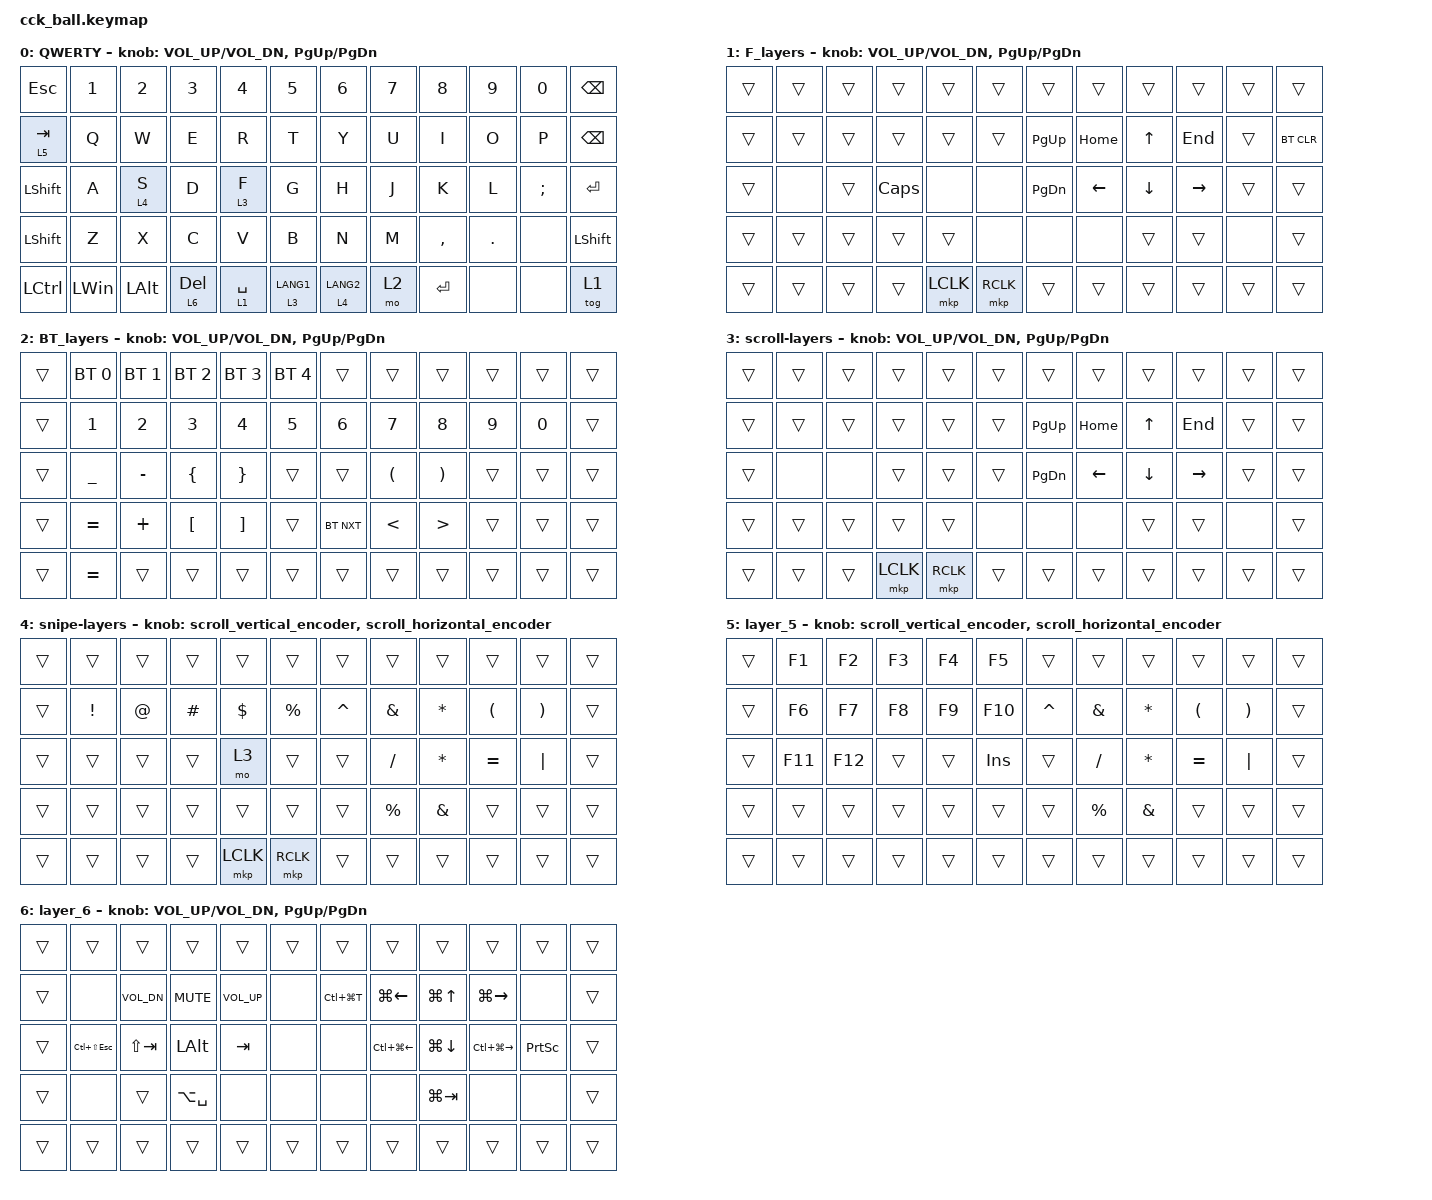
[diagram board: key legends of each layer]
/*
 * Copyright (c) 2024 The ZMK Contributors
 *
 * SPDX-License-Identifier: MIT
 */

// ---------------------------------------------------------
// 感度とスクロール量の基本設定
// ---------------------------------------------------------
#define ZMK_POINTING_DEFAULT_MOVE_VAL 100
#define ZMK_POINTING_DEFAULT_SCRL_VAL 6

#include <behaviors.dtsi>
#include <dt-bindings/zmk/keys.h>
#include <dt-bindings/zmk/bt.h>
#include <dt-bindings/zmk/pointing.h>
#include <dt-bindings/zmk/outputs.h>
#include <input/processors.dtsi> 
#include <zephyr/dt-bindings/input/input-event-codes.h>

// ---------------------------------------------------------
// 入力プロセッサ設定 (リスナー)
// ---------------------------------------------------------

/ {
  zip_xy_swap: zip_xy_swap {
      compatible = "zmk,input-processor-code-mapper";
      #input-processor-cells = <0>;
      type = <INPUT_EV_REL>;
      /* INPUT_REL_X を INPUT_REL_Y に、Y を X に変換する */
      map = <INPUT_REL_X INPUT_REL_Y>, <INPUT_REL_Y INPUT_REL_X>;
  };

zip_y_inverter: zip_y_inverter {
      compatible = "zmk,input-processor-scaler";
      #input-processor-cells = <2>; /* 引数を2つ(倍率, 分母)とる設定 */
      type = <INPUT_EV_REL>;
      codes = <INPUT_REL_Y>; /* Y軸のみに作用させる */
  };
};

// 1. 通常のマウス移動 (v0.3対応: 標準リスナーに戻す)
&mmv_input_listener {
    compatible = "zmk,input-listener";
    device = <&trackball>;
    input-processors = <&zip_xy_swap>, <&zip_y_inverter (-1) 1>, <&zip_xy_scaler 2 1>, <&zip_temp_layer 1 200>;
};

// 2. 通常のスクロール (既存設定)
&msc_input_listener {
    input-processors = <&zip_xy_swap>, <&zip_y_inverter (-1) 1>,<&zip_scroll_scaler 2 1>;
};

/ {
    // -----------------------------------------------------
    // 追加リスナー設定
    // -----------------------------------------------------

    // 3. レイヤー3スクロールはドライバ機能(overlayのscroll-layers)を使用するため
    // ここでのリスナー定義は不要です。

    // 4. トラックボール作動時にレイヤー1にする (Auto Mouse)
    automouse_listener {
        compatible = "zmk,input-behavior-listener";
        device = <&trackball>;
        layers = <0 2 4 5 6>; 
        evt-type = <INPUT_EV_REL>;
        x-input-code = <INPUT_REL_X>;
        y-input-code = <INPUT_REL_Y>;
        bindings = <&mo 1>;
        time-to-live-ms = <100>; // 0.1s delay
    };


};

// ---------------------------------------------------------
// マウス動作の挙動詳細設定
// ---------------------------------------------------------
&msc {
    acceleration-exponent = <0>;
    time-to-max-speed-ms = <300>;
    delay-ms = <0>;
};

&mmv {
    time-to-max-speed-ms = <500>;
    acceleration-exponent = <1>;
    trigger-period-ms = <16>;
};

&soft_off { hold-time-ms = <2000>; };

/ {
    // -----------------------------------------------------
    // カスタム挙動 (エンコーダー等)
    // -----------------------------------------------------
    scroll_vertical_encoder: scroll_vertical_encoder {
        compatible = "zmk,behavior-sensor-rotate";
        #sensor-binding-cells = <0>;
        bindings = <&msc SCRL_DOWN>, <&msc SCRL_UP>;
        tap-ms = <100>;
    };

    scroll_horizontal_encoder: scroll_horizontal_encoder {
        compatible = "zmk,behavior-sensor-rotate";
        #sensor-binding-cells = <0>;
        bindings = <&msc SCRL_LEFT>, <&msc SCRL_RIGHT>;
        tap-ms = <100>;
    };

    behaviors {
    };

    // -----------------------------------------------------
    // キーマップ定義
    // -----------------------------------------------------
    keymap {
        compatible = "zmk,keymap";

        // Layer 0: Default
        QWERTY {
            bindings = <
&kp ESC           &kp N1        &kp N2        &kp N3        &kp N4        &kp N5         &kp N6        &kp N7        &kp N8        &kp N9            &kp N0            &kp BACKSPACE
&lt 5 TAB         &kp Q         &kp W         &kp E         &kp R         &kp T          &kp Y         &kp U         &kp I         &kp O             &kp P             &kp BACKSPACE
&kp LEFT_SHIFT &kp A &lt 4 S &kp D &lt 3 F &kp G &kp H &kp J &kp K &kp L &kp SEMI &kp ENTER
&kp LEFT_SHIFT    &kp Z         &kp X         &kp C         &kp V         &kp B          &kp N         &kp M         &kp COMMA     &kp DOT           &none             &kp LEFT_SHIFT
&kp LEFT_CONTROL  &kp LEFT_WIN  &kp LEFT_ALT  &lt 6 DELETE  &lt 1 SPACE   &lt 3 LANG1    &lt 4 LANG2   &mo 2         &kp ENTER     &none             &none             &tog 1
            >;
            sensor-bindings = <&inc_dec_kp C_VOL_UP C_VOL_DN &inc_dec_kp PG_UP PG_DN>;
        };

        // Layer 1: Mouse Active Layer (Auto Mouse) & Functions
        F_layers {
            bindings = <
&trans   &trans          &trans        &trans        &trans        &trans         &trans        &trans      &trans      &trans     &trans   &trans
&trans   &trans          &trans        &trans        &trans        &trans         &kp PG_UP     &kp HOME    &kp UP      &kp END    &trans   &bt BT_CLR
&trans   &none           &trans    &kp CAPSLOCK  &none        &none         &kp PG_DN     &kp LEFT    &kp DOWN    &kp RIGHT  &trans   &trans
&trans   &trans          &trans        &trans        &trans        &none          &none         &none       &trans      &trans     &none    &trans
&trans   &trans          &trans        &trans        &mkp LCLK      &mkp RCLK     &trans        &trans      &trans      &trans     &trans   &trans
            >;
            sensor-bindings = <&inc_dec_kp C_VOL_UP C_VOL_DN &inc_dec_kp PG_UP PG_DN>;
        };

        // Layer 2: Bluetooth
        // 修正: BT_CLR_ALL を BT_CLR に変更
        BT_layers {
            bindings = <
&trans  &bt BT_SEL 0    &bt BT_SEL 1  &bt BT_SEL 2  &bt BT_SEL 3  &bt BT_SEL 4    &trans         &trans        &trans      &trans  &trans  &trans
&trans  &kp N1          &kp N2        &kp N3        &kp N4        &kp N5          &kp N6         &kp N7        &kp N8      &kp N9  &kp N0  &trans
&trans  &kp UNDER       &kp MINUS     &kp LBRC      &kp RBRC      &trans          &trans         &kp LPAR      &kp RPAR    &trans  &trans  &trans
&trans  &kp EQUAL      &kp PLUS      &kp LBKT      &kp RBKT      &trans          &bt BT_NXT     &kp LT        &kp GT      &trans  &trans  &trans
&trans  &kp EQUAL       &trans        &trans        &trans        &trans          &trans         &trans        &trans      &trans  &trans  &trans
            >;
            sensor-bindings = <&inc_dec_kp C_VOL_UP C_VOL_DN &inc_dec_kp PG_UP PG_DN>;
        };

        // Layer 3: Scroll Layer (with Nav/Click keys)
        scroll-layers {
            bindings = <
&trans   &trans          &trans        &trans        &trans        &trans         &trans        &trans      &trans      &trans     &trans   &trans
&trans   &trans          &trans        &trans        &trans        &trans         &kp PG_UP     &kp HOME    &kp UP      &kp END    &trans   &trans
&trans   &none           &none         &trans        &trans        &trans         &kp PG_DN     &kp LEFT    &kp DOWN    &kp RIGHT  &trans   &trans
&trans   &trans          &trans        &trans        &trans        &none          &none         &none       &trans      &trans     &none    &trans
&trans   &trans          &trans        &mkp LCLK     &mkp RCLK     &trans         &trans        &trans      &trans      &trans     &trans   &trans
            >;
            sensor-bindings = <&inc_dec_kp C_VOL_UP C_VOL_DN &inc_dec_kp PG_UP PG_DN>;
        };

        // Layer 4: Snipe / Symbols
        snipe-layers {
            bindings = <
&trans  &trans    &trans  &trans    &trans    &trans     &trans      &trans      &trans     &trans    &trans    &trans
&trans  &kp EXCL  &kp AT  &kp HASH  &kp DLLR  &kp PRCNT  &kp CARET   &kp AMPS    &kp ASTRK  &kp LPAR  &kp RPAR  &trans
&trans  &trans    &trans  &trans    &mo 3   &trans     &trans      &kp FSLH    &kp ASTRK  &kp EQUAL &kp PIPE  &trans
&trans  &trans    &trans  &trans    &trans    &trans     &trans      &kp PRCNT   &kp AMPS   &trans    &trans    &trans
&trans  &trans    &trans  &trans      &mkp LCLK     &mkp RCLK       &trans      &trans      &trans     &trans    &trans    &trans
            >;
            // 修正: カンマ区切りではなくスペース区切りにして <> で括る (標準的なZMK構文)
            sensor-bindings = <&scroll_vertical_encoder &scroll_horizontal_encoder>;
        };

        // Layer 5: Function Keys
        layer_5 {
            bindings = <
&trans  &kp F1    &kp F2  &kp F3    &kp F4    &kp F5     &trans      &trans      &trans     &trans    &trans    &trans
&trans  &kp F6    &kp F7  &kp F8    &kp F9    &kp F10    &kp CARET   &kp AMPS    &kp ASTRK  &kp LPAR  &kp RPAR  &trans
&trans  &kp F11   &kp F12 &trans    &trans    &kp INS    &trans      &kp FSLH    &kp ASTRK  &kp EQUAL &kp PIPE  &trans
&trans  &trans    &trans  &trans    &trans    &trans     &trans      &kp PRCNT   &kp AMPS   &trans    &trans    &trans
&trans  &trans    &trans  &trans    &trans    &trans     &trans      &trans      &trans     &trans    &trans    &trans
            >;
            sensor-bindings = <&scroll_vertical_encoder &scroll_horizontal_encoder>;
        };

        // Layer 6: Application & Window Control
        layer_6 {
            bindings = <
// ┌──────────┬──────────────┬─────────────┬──────────────┬──────────────┬──────┬──────────────┬──────────────────┬──────────────┬──────────────────┬───────────┬──────────┐
   &trans      &trans         &trans        &trans         &trans         &trans &trans         &trans             &trans         &trans             &trans      &trans
// ├──────────┼──────────────┼─────────────┼──────────────┼──────────────┼──────┼──────────────┼──────────────────┼──────────────┼──────────────────┼───────────┼──────────┤
   &trans      &none          &kp C_VOL_DN  &kp C_MUTE     &kp C_VOL_UP   &none  &kp LC(LG(T))  &kp LG(LEFT)       &kp LG(UP)     &kp LG(RIGHT)      &none       &trans
// │          │              │ Volume Down │ Mute         │ Volume Up    │      │ New Desktop  │ Win + Left       │ Win + Up     │ Win + Right      │           │          │
// ├──────────┼──────────────┼─────────────┼──────────────┼──────────────┼──────┼──────────────┼──────────────────┼──────────────┼──────────────────┼───────────┼──────────┤
   &trans      &kp LC(LS(ESC)) &kp LS(TAB)  &kp LALT       &kp TAB        &none  &none          &kp LC(LG(LEFT))   &kp LG(DOWN)   &kp LC(LG(RIGHT))  &kp PSCRN   &trans
// │          │ Task Manager │ Shift+Tab   │ Alt          │ Tab          │      │              │ Desktop Left     │ Win + Down   │ Desktop Right    │ PrtScr    │          │
// ├──────────┼──────────────┼─────────────┼──────────────┼──────────────┼──────┼──────────────┼──────────────────┼──────────────┼──────────────────┼───────────┼──────────┤
   &trans      &none          &trans        &kp LA(SPACE)  &none          &none  &none          &none              &kp LG(TAB)    &none              &none       &trans
// │          │              │             │ Alt+Space    │              │      │              │                  │ Win + Tab    │                  │           │          │
// ├──────────┼──────────────┼─────────────┼──────────────┼──────────────┼──────┼──────────────┼──────────────────┼──────────────┼──────────────────┼───────────┼──────────┤
   &trans      &trans         &trans        &trans         &trans         &trans &trans         &trans             &trans         &trans             &trans      &trans
// └──────────┴──────────────┴─────────────┴──────────────┴──────────────┴──────┴──────────────┴──────────────────┴──────────────┴──────────────────┴───────────┴──────────┘
            >;
            sensor-bindings = <&inc_dec_kp C_VOL_UP C_VOL_DN &inc_dec_kp PG_UP PG_DN>;
        };
    };
};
